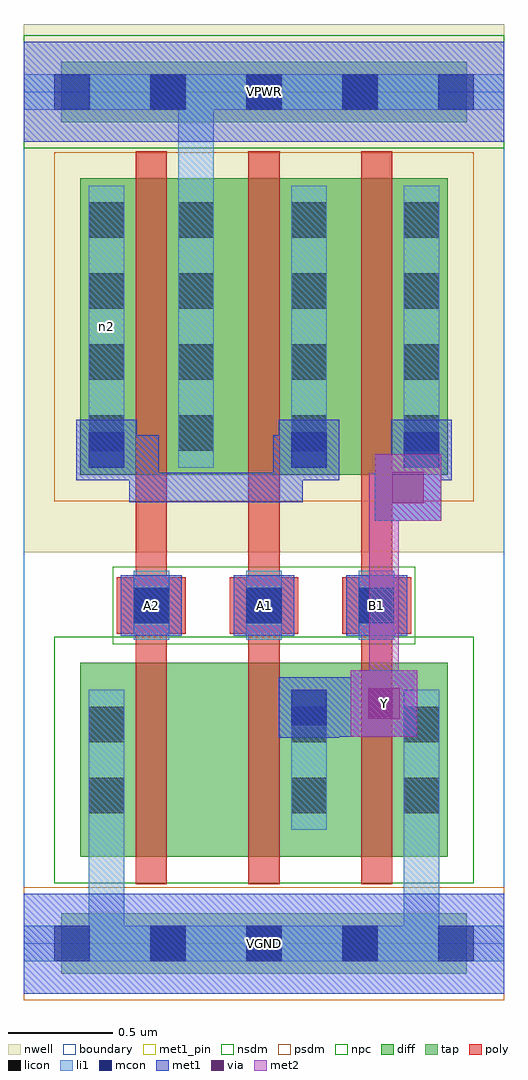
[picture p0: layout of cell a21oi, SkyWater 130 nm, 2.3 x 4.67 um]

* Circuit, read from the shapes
.subckt a21oi A1 A2 B1 VGND VPWR Y n2
XM1 n1 A2 VGND VGND sky130_fd_pr__nfet_01v8 w=0.93 l=0.15
XM2 Y A1 n1 VGND sky130_fd_pr__nfet_01v8 w=0.93 l=0.15
XM3 VGND B1 Y VGND sky130_fd_pr__nfet_01v8 w=0.93 l=0.15
XM4 VPWR A2 n2 VPWR sky130_fd_pr__pfet_01v8 w=1.42 l=0.15
XM5 n2 A1 VPWR VPWR sky130_fd_pr__pfet_01v8 w=1.42 l=0.15
XM6 Y B1 n2 VPWR sky130_fd_pr__pfet_01v8 w=1.42 l=0.15
.ends

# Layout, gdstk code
import gdstk
lib = gdstk.Library(unit=1e-6, precision=1e-09)
def R(c, l, rs):  # rectangles x0, y0, x1, y1
    for r in rs: c.add(gdstk.rectangle(r[:2], r[2:], *l))
def A(c, l, x, y, w, h, nx, ny, dx, dy):  # array of equal rectangles
    R(c, l, [(x+i*dx, y+j*dy, x+i*dx+w, y+j*dy+h) for i in range(nx) for j in range(ny)])
nwell = (64, 20)
diff = (65, 20)
tap = (65, 44)
poly = (66, 20)
licon = (66, 44)
li1 = (67, 20)
mcon = (67, 44)
met1_pin = (68, 16)
met1 = (68, 20)
via = (68, 44)
met2 = (69, 20)
nsdm = (93, 44)
psdm = (94, 20)
npc = (95, 20)
boundary = (235, 4)

a21oi = lib.new_cell('a21oi')
R(a21oi, nwell, [(0,1.875,2.3,4.405)])
R(a21oi, diff, [(0.27,0.415,2.03,1.345), (0.27,2.245,2.03,3.665)])
R(a21oi, tap, [(0.18,-0.145,2.12,0.145), (0.18,3.935,2.12,4.225)])
A(a21oi, poly, 0.535, 0.285, 0.15, 3.51, 3, 1, 0.54, 0)
A(a21oi, poly, 0.445, 1.485, 0.33, 0.27, 3, 1, 0.54, 0)
A(a21oi, licon, 0.605, -0.085, 0.17, 0.17, 3, 2, 0.46, 4.08)
A(a21oi, licon, 0.525, 1.535, 0.17, 0.17, 3, 1, 0.54, 0)
A(a21oi, licon, 0.31, 2.36, 0.17, 0.17, 1, 4, 0, 0.34)
A(a21oi, licon, 0.74, 2.36, 0.17, 0.17, 3, 4, 0.54, 0.34)
R(a21oi, licon, [(0.31,0.625,0.48,0.795), (1.28,0.625,1.45,0.795), (1.82,0.625,1.99,0.795), (0.31,0.965,0.48,1.135), (1.28,0.965,1.45,1.135), (1.82,0.965,1.99,1.135)])
A(a21oi, li1, 0.525, 1.455, 0.17, 0.33, 3, 1, 0.54, 0)
A(a21oi, li1, 0.74, 2.28, 0.17, 1.35, 3, 1, 0.54, 0)
R(a21oi, li1, [(0,-0.085,2.3,0.085), (0.31,-0.085,0.48,1.215), (1.82,-0.085,1.99,1.215), (0.31,0.545,0.48,1.215), (1.28,0.545,1.45,1.215), (1.82,0.545,1.99,1.215), (0.31,2.28,0.48,3.63), (0.74,2.28,0.91,4.165), (0,3.995,2.3,4.165)])
A(a21oi, mcon, 0.145, -0.085, 0.17, 0.17, 5, 2, 0.46, 4.08)
A(a21oi, mcon, 0.525, 1.535, 0.17, 0.17, 3, 1, 0.54, 0)
R(a21oi, mcon, [(1.28,1.045,1.45,1.215), (0.31,2.28,0.48,2.45), (1.28,2.28,1.45,2.45), (1.82,2.28,1.99,2.45)])
A(a21oi, met1_pin, 0.465, 1.475, 0.29, 0.29, 3, 1, 0.54, 0)
R(a21oi, met1_pin, [(0,-0.24,2.3,0.24), (1.565,0.99,1.885,1.31), (0,3.84,2.3,4.32)])
A(a21oi, met1, 0.465, 1.475, 0.29, 0.29, 3, 1, 0.54, 0)
R(a21oi, met1, [(0,-0.24,2.3,0.24), (1.22,0.985,1.51,1.275), (1.51,0.99,1.565,1.275), (1.565,0.99,1.885,1.31), (1.295,1.06,1.565,1.2), (1.425,1.06,1.565,1.22), (1.425,1.08,1.795,1.22), (1.68,2.025,2,2.345), (0.505,2.115,0.645,2.435), (0.505,2.115,1.335,2.255), (1.195,2.115,1.335,2.435), (1.77,2.115,1.91,2.435), (0.25,2.22,0.54,2.51), (1.22,2.22,1.51,2.51), (1.76,2.22,2.05,2.51), (0.325,2.295,0.645,2.435), (1.195,2.295,1.435,2.435), (1.77,2.295,1.975,2.435), (0,3.84,2.3,4.32)])
R(a21oi, via, [(1.65,1.075,1.8,1.225), (1.765,2.11,1.915,2.26)])
R(a21oi, met2, [(1.565,0.99,1.885,1.31), (1.655,1.08,1.795,2.255), (1.68,2.025,2,2.345), (1.655,2.115,1.91,2.255)])
R(a21oi, nsdm, [(0.145,0.29,2.155,1.47), (0,3.81,2.3,4.35)])
R(a21oi, psdm, [(0,-0.27,2.3,0.27), (0.145,2.12,2.155,3.79)])
R(a21oi, npc, [(0.425,1.435,1.875,1.805)])
R(a21oi, boundary, [(0,0,2.3,4.08)])
a21oi.add(gdstk.Label('n2', (0.395,2.955), layer=67, texttype=5))
a21oi.add(gdstk.Label('A1', (1.15,1.62), layer=68, texttype=5))
a21oi.add(gdstk.Label('A2', (0.61,1.62), layer=68, texttype=5))
a21oi.add(gdstk.Label('B1', (1.69,1.62), layer=68, texttype=5))
a21oi.add(gdstk.Label('Y', (1.725,1.15), layer=68, texttype=5))
a21oi.add(gdstk.Label('VPWR', (1.15,4.08), layer=68, texttype=5))
a21oi.add(gdstk.Label('VGND', (1.15,0), layer=68, texttype=5))
a21oi.add(gdstk.Label('A1', (1.15,1.62), layer=68, texttype=16))
a21oi.add(gdstk.Label('A2', (0.61,1.62), layer=68, texttype=16))
a21oi.add(gdstk.Label('B1', (1.69,1.62), layer=68, texttype=16))
a21oi.add(gdstk.Label('Y', (1.725,1.15), layer=68, texttype=16))
a21oi.add(gdstk.Label('VPWR', (1.15,4.08), layer=68, texttype=16))
a21oi.add(gdstk.Label('VGND', (1.15,0), layer=68, texttype=16))

lib.write_gds('a21oi.gds')
